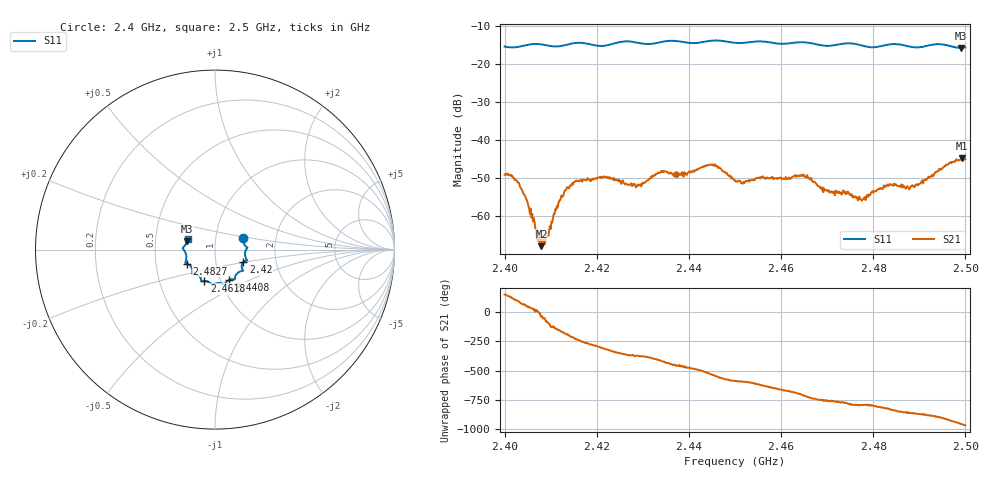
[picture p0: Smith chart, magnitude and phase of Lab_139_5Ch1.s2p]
# Hz S RI R 50
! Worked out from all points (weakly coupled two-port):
!   601 points, 2.4 GHz to 2.5 GHz, reference 50 ohm
!   highest |S21| = -44.72 dB at 2.4992 GHz (marker M1); lowest = -67.8 dB at 2.408 GHz (marker M2)
!   lowest |S11| = -15.8 dB at 2.499 GHz (marker M3), VSWR 1.39, Z = 36.5 + j3.53 ohm
!   |S11| at or under -10 dB: start of sweep to end of sweep
!   S12 and S22 are empty: the file has one direction only
!   S11 on the Smith chart (normalised r, x): 2.4 GHz: 1.36, +0.17; 2.42 GHz: 1.36, -0.19; 2.4408 GHz: 1.10, -0.39; 2.4618 GHz: 0.84, -0.30; 2.4827 GHz: 0.72, -0.12; 2.5 GHz: 0.73, +0.09
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2.4e9  0.1562 0.0622  -0.00294 0.00189  0 0  0 0
2.403167e9  0.1654 0.0252  0.00024 0.00268  0 0  0 0
2.408e9  0.179 0.00796  0.000311 -0.000261  0 0  0 0
2.409167e9  0.174 0.00114  7.24e-05 -0.000534  0 0  0 0
2.4115e9  0.1667 -0.0236  -0.00116 -0.000588  0 0  0 0
2.413333e9  0.1708 -0.0444  -0.00217 0.000453  0 0  0 0
2.416667e9  0.1782 -0.0593  -0.000981 0.00284  0 0  0 0
2.42e9  0.158 -0.0693  0.00126 0.00286  0 0  0 0
2.428833e9  0.1463 -0.1194  0.00244 -0.000632  0 0  0 0
2.433333e9  0.1121 -0.152  0.00237 -0.00289  0 0  0 0
2.440833e9  0.0789 -0.1688  -0.00217 -0.00334  0 0  0 0
2.445167e9  0.0531 -0.1939  -0.00479 -0.000143  0 0  0 0
2.45e9  0.0278 -0.1859  -0.00196 0.00222  0 0  0 0
2.461833e9  -0.0601 -0.1753  0.00226 0.00221  0 0  0 0
2.466667e9  -0.077 -0.1684  0.00281 -0.000877  0 0  0 0
2.477167e9  -0.1252 -0.1231  0.000426 -0.00162  0 0  0 0
2.482667e9  -0.1572 -0.0779  -0.000527 -0.00239  0 0  0 0
2.483333e9  -0.1614 -0.0762  -0.000688 -0.00241  0 0  0 0
2.489333e9  -0.1604 -0.0318  -0.00219 -0.00134  0 0  0 0
2.499e9  -0.1545 0.0471  -0.00316 0.00459  0 0  0 0
2.499167e9  -0.1539 0.0494  -0.00328 0.00479  0 0  0 0
2.5e9  -0.152 0.0617  -0.00209 0.00519  0 0  0 0
